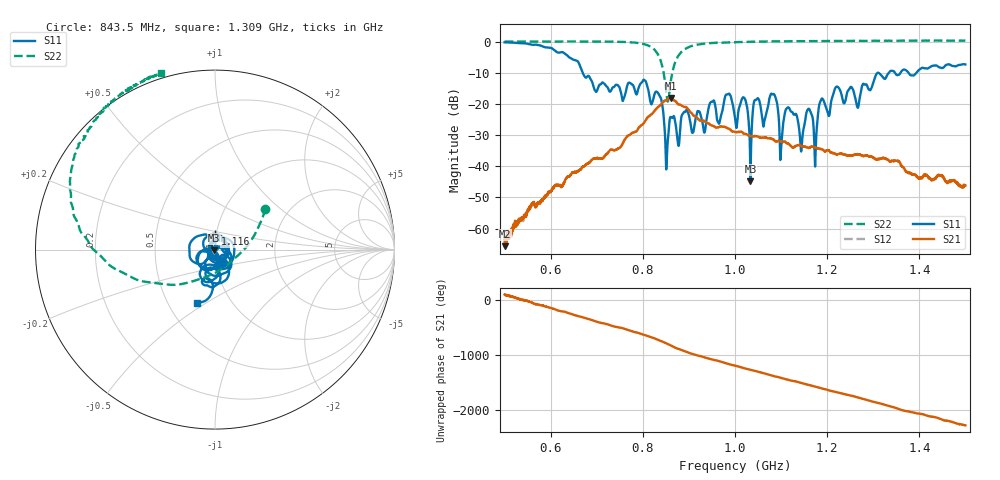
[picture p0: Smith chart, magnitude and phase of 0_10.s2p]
!Keysight Technologies,N5242B,MY48420860,A.13.80.08
!Date: Saturday, September 26, 2020 11:36:41
!Correction: S11(Full 2 Port(1,2))
!S21(Full 2 Port(1,2))
!S12(Full 2 Port(1,2))
!S22(Full 2 Port(1,2))
!S2P File: Measurements: S11, S21, S12, S22:
# Hz S  dB  R 50
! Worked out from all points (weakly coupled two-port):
!   2650 points, 500 MHz to 1.5 GHz, reference 50 ohm
!   highest |S21| = -18.12 dB at 860.9 MHz (marker M1); lowest = -65.7 dB at 500 MHz (marker M2)
!   lowest |S11| = -44.9 dB at 1.033 GHz (marker M3), VSWR 1.01, Z = 49.5 - j0.345 ohm
!   |S11| at or under -10 dB: 669.5 MHz to 1.334 GHz (664.6 MHz wide, 66.3 % of centre); 1.347 GHz to 1.359 GHz (12.33 MHz wide, 0.911 % of centre); 1.376 GHz to 1.394 GHz (17.4 MHz wide, 1.26 % of centre)
!   |S22| runs from -19.3 to 0.3 dB; largest |S21 - S12| = 0.00046
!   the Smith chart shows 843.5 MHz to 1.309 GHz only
!   S11 on the Smith chart (normalised r, x): 843.5 MHz: 1.07, -0.16; 1.116 GHz: 0.98, +0.17; 1.309 GHz: 0.70, -0.46
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5e8  -0.25 -166.4  -65.66 101.0  -63.46 102.0  -0.02 147.3
6.023028e8  -2.15 127.0  -47.66 -148.0  -47.36 -147.6  0.01 139.1
6.668554e8  -9.00 69.2  -40.64 53.9  -40.67 53.8  0.00 132.6
8.337108e8  -16.70 -13.0  -20.95 -7.1  -20.95 -7.2  -4.39 64.2
8.435259e8  -21.72 -61.7  -19.51 -39.9  -19.53 -40.0  -8.86 38.9
8.514534e8  -39.39 -1.7  -18.80 -71.2  -18.82 -71.3  -16.87 -7.8
8.608909e8  -24.26 -1.9  -18.12 -110.3  -18.14 -110.5  -12.52 -129.1
8.967535e8  -22.29 -38.0  -21.44 127.5  -21.47 127.4  -1.97 167.4
1.000189e9  -24.64 -127.5  -29.01 -115.9  -29.06 -116.1  -0.24 135.4
1.020196e9  -18.14 -133.3  -29.72 -162.6  -29.74 -162.6  -0.15 132.5
1.033409e9  -44.88 -142.4  -30.33 169.1  -30.39 168.9  -0.08 131.1
1.046244e9  -18.64 -123.6  -30.38 141.6  -30.42 141.4  -0.03 129.7
1.085126e9  -16.98 163.3  -31.64 50.9  -31.68 51.0  0.07 125.8
1.100227e9  -33.92 171.9  -32.12 20.1  -32.20 20.1  0.07 124.2
1.116082e9  -21.12 90.0  -32.83 -17.3  -32.80 -17.7  0.09 122.7
1.143639e9  -35.28 110.4  -33.55 -72.5  -33.54 -72.9  0.09 120.3
1.166667e9  -23.50 -103.2  -33.68 -120.6  -33.74 -120.8  0.10 118.2
1.174594e9  -36.99 60.0  -34.02 -140.7  -34.02 -140.9  0.10 117.6
1.187429e9  -18.51 -47.5  -34.52 -169.5  -34.58 -169.3  0.16 116.8
1.308607e9  -10.14 -108.6  -37.74 -71.6  -37.80 -71.3  0.24 107.0
1.333522e9  -10.10 -123.9  -38.19 -133.0  -38.14 -132.4  0.29 104.9
1.5e9  -7.36 164.0  -46.19 -125.6  -46.26 -126.1  0.28 91.2
